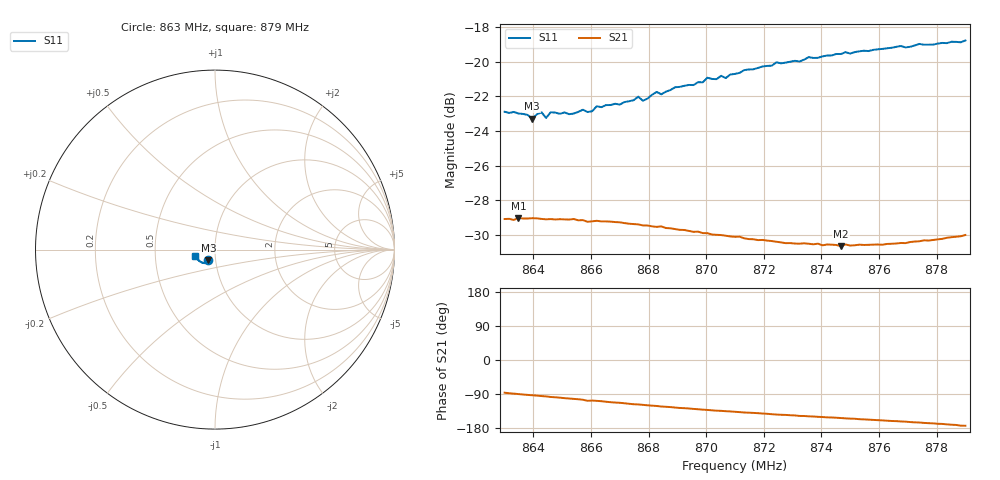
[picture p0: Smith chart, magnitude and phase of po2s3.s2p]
# HZ S RI R 50
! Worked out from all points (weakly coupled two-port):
!   101 points, 863 MHz to 879 MHz, reference 50 ohm
!   highest |S21| = -29.02 dB at 863.48 MHz (marker M1); lowest = -30.7 dB at 874.68 MHz (marker M2)
!   lowest |S11| = -23.3 dB at 863.96 MHz (marker M3), VSWR 1.15, Z = 46.2 - j5.35 ohm
!   |S11| at or under -10 dB: start of sweep to end of sweep
!   S12 and S22 are empty: the file has one direction only
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8.63e8  -0.0408 -0.059  0.00226 -0.0351  0 0  0 0
8.6348e8  -0.0397 -0.0588  6e-05 -0.0354  0 0  0 0
8.6396e8  -0.0368 -0.0577  -0.00186 -0.0353  0 0  0 0
8.6428e8  -0.0373 -0.061  -0.00315 -0.035  0 0  0 0
8.6444e8  -0.0356 -0.0589  -0.00369 -0.0349  0 0  0 0
8.646e8  -0.0372 -0.0611  -0.00464 -0.0348  0 0  0 0
8.6524e8  -0.035 -0.0613  -0.00704 -0.0343  0 0  0 0
8.6572e8  -0.035 -0.0638  -0.00897 -0.0337  0 0  0 0
8.6604e8  -0.0347 -0.063  -0.0101 -0.0331  0 0  0 0
8.662e8  -0.036 -0.0651  -0.0106 -0.0331  0 0  0 0
8.67e8  -0.0357 -0.0663  -0.0134 -0.0317  0 0  0 0
8.6764e8  -0.0377 -0.0698  -0.0155 -0.0301  0 0  0 0
8.678e8  -0.0374 -0.0675  -0.016 -0.0296  0 0  0 0
8.6828e8  -0.0396 -0.0716  -0.0173 -0.0285  0 0  0 0
8.6844e8  -0.0399 -0.07  -0.0181 -0.0282  0 0  0 0
8.7004e8  -0.049 -0.0755  -0.0213 -0.0238  0 0  0 0
8.71e8  -0.0537 -0.0751  -0.0227 -0.0214  0 0  0 0
8.7244e8  -0.066 -0.0746  -0.0244 -0.0178  0 0  0 0
8.7372e8  -0.074 -0.0711  -0.0255 -0.0153  0 0  0 0
8.7468e8  -0.0814 -0.0669  -0.0262 -0.0133  0 0  0 0
8.7644e8  -0.0938 -0.0571  -0.0282 -0.00973  0 0  0 0
8.79e8  -0.1096 -0.0357  -0.0314 -0.00355  0 0  0 0
